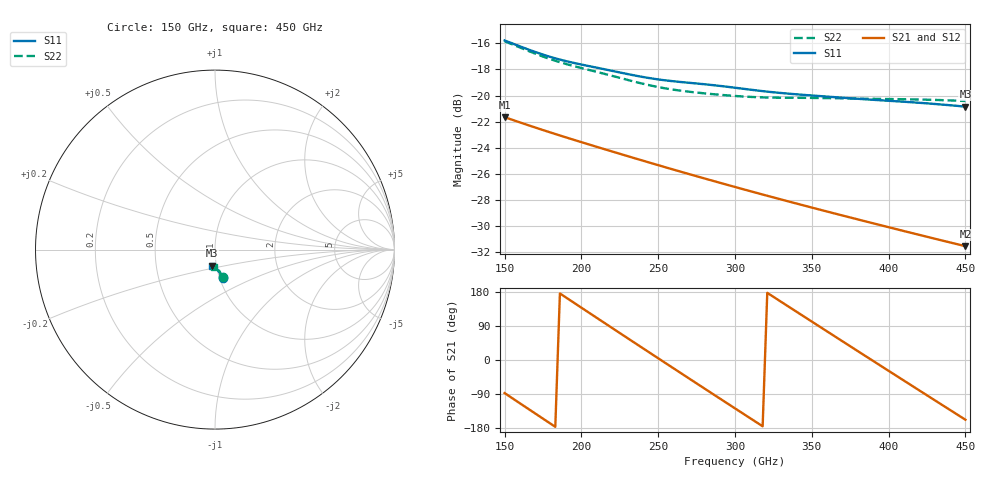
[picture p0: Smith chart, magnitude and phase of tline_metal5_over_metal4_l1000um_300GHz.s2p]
#  GHZ S DB R 50
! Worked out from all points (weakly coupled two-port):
!   101 points, 150 GHz to 450 GHz, reference 50 ohm
!   highest |S21| = -21.66 dB at 150 GHz (marker M1); lowest = -31.6 dB at 450 GHz (marker M2)
!   lowest |S11| = -20.9 dB at 450 GHz (marker M3), VSWR 1.20, Z = 47.7 - j8.59 ohm
!   |S11| at or under -10 dB: start of sweep to end of sweep
!   |S22| runs from -20.4 to -15.8 dB; largest |S21 - S12| = 7.1e-14
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150  -15.77 -74.5  -21.66 -87.3  -21.66 -87.3  -15.83 -73.5
162  -16.31 -76.1  -22.14 -119.8  -22.14 -119.8  -16.41 -75.2
177  -16.93 -77.3  -22.73 -160.2  -22.73 -160.2  -17.09 -76.4
189  -17.33 -77.9  -23.18 167.6  -23.18 167.6  -17.54 -77.0
201  -17.64 -78.7  -23.62 135.4  -23.62 135.4  -17.92 -77.7
213  -17.93 -79.7  -24.05 103.2  -24.05 103.2  -18.28 -78.5
222  -18.15 -80.4  -24.37 79.1  -24.37 79.1  -18.55 -79.1
237  -18.51 -81.5  -24.90 39.1  -24.90 39.1  -19.01 -79.7
252  -18.79 -82.2  -25.42 -0.8  -25.42 -0.8  -19.39 -79.8
264  -18.95 -82.9  -25.83 -32.6  -25.83 -32.6  -19.62 -79.7
276  -19.09 -84.0  -26.23 -64.4  -26.23 -64.4  -19.78 -79.7
288  -19.23 -85.2  -26.63 -96.0  -26.63 -96.0  -19.92 -79.9
300  -19.40 -86.4  -27.02 -127.6  -27.02 -127.6  -20.03 -80.2
312  -19.58 -87.5  -27.41 -159.2  -27.41 -159.2  -20.12 -80.5
324  -19.74 -88.5  -27.79 169.4  -27.79 169.4  -20.16 -80.9
339  -19.90 -89.6  -28.26 130.1  -28.26 130.1  -20.18 -81.7
351  -20.01 -90.6  -28.64 98.8  -28.64 98.8  -20.18 -82.6
363  -20.11 -91.6  -29.00 67.5  -29.00 67.5  -20.20 -83.7
378  -20.24 -93.0  -29.46 28.5  -29.46 28.5  -20.23 -85.1
402  -20.42 -95.2  -30.17 -33.7  -30.17 -33.7  -20.27 -87.5
426  -20.61 -97.6  -30.88 -95.8  -30.88 -95.8  -20.32 -90.3
450  -20.85 -100.0  -31.57 -157.6  -31.57 -157.6  -20.42 -93.5
